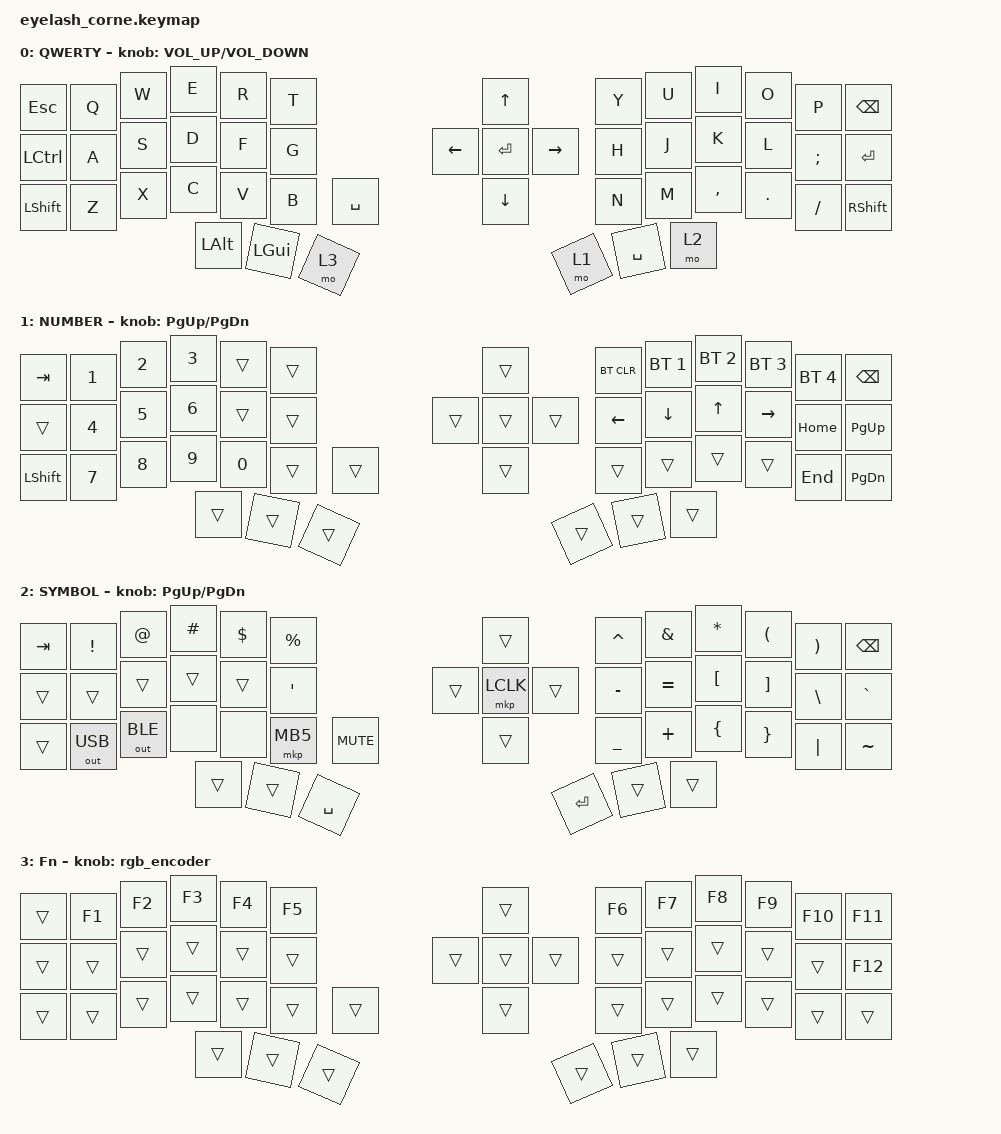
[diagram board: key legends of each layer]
#include <behaviors.dtsi>
#include <dt-bindings/zmk/bt.h>
#include <dt-bindings/zmk/keys.h>
#include <dt-bindings/zmk/mouse.h>
#include <dt-bindings/zmk/outputs.h>
#include <dt-bindings/zmk/rgb.h>

/ {
    behaviors {
        td0: td0 {
            compatible = "zmk,behavior-tap-dance";
            #binding-cells = <0>;
            bindings = <&kp LEFT_SHIFT>, <&kp CAPS>;
        };
    };

    rgb_encoder: rgb_encoder {
        compatible = "zmk,behavior-sensor-rotate";
        #sensor-binding-cells = <0>;
        bindings = <&rgb_ug RGB_BRI>, <&rgb_ug RGB_BRD>;
    };

    keymap {
        compatible = "zmk,keymap";

        default_layer {
            display-name = "QWERTY";

            bindings = <
&kp ESCAPE    &kp Q  &kp W      &kp E     &kp R  &kp T                              &kp UP                &kp Y        &kp U  &kp I      &kp O    &kp P     &kp BSPC
&kp LCTRL       &kp A  &kp S      &kp D     &kp F  &kp G                    &kp LEFT  &kp ENTER  &kp RIGHT  &kp H        &kp J  &kp K      &kp L    &kp SEMI  &kp ENTER
&kp LSHIFT  &kp Z  &kp X      &kp C     &kp V  &kp B       &kp SPACE              &kp DOWN              &kp N        &kp M  &kp COMMA  &kp DOT  &kp FSLH  &kp RIGHT_SHIFT
                             &kp LEFT_ALT  &kp LEFT_GUI  &mo 3                                              &mo 1  &kp SPACE  &mo 2
            >;

            sensor-bindings = <&inc_dec_kp C_VOLUME_UP C_VOLUME_DOWN>;
        };

        lower_layer {
            display-name = "NUMBER";
            bindings = <
&kp TAB  &kp N1           &kp N2          &kp N3        &trans        &trans                                &trans            &bt BT_CLR           &bt BT_SEL 1          &bt BT_SEL 2          &bt BT_SEL 3          &bt BT_SEL 4    &kp BSPC
&trans  &kp N4   &kp N5    &kp N6  &trans  &trans                  &trans  &trans  &trans &kp LEFT         &kp DOWN         &kp UP           &kp RIGHT        &kp HOME  &kp PG_UP
&kp LSHIFT  &kp N7  &kp N8  &kp N9     &kp N0        &trans &trans            &trans            &trans  &trans  &trans  &trans  &kp END   &kp PG_DN
                                         &trans        &trans        &trans                                                  &trans         &trans          &trans
            >;

            sensor-bindings = <&inc_dec_kp PG_UP PG_DN>;
        };

        raise_layer {
            display-name = "SYMBOL";
            bindings = <
&kp TAB  &kp EXCL      &kp AT        &kp HASH   &kp DLLR   &kp PRCNT                       &trans            &kp CARET  &kp AMPS   &kp ASTRK  &kp LPAR  &kp RPAR  &kp BSPC
&trans  &trans    &trans     &trans  &trans  &kp SQT                &trans  &mkp LCLK  &trans &kp MINUS  &kp EQUAL  &kp LBKT   &kp RBKT  &kp BSLH  &kp GRAVE
&trans  &out OUT_USB  &out OUT_BLE  &none      &none      &mkp MB5  &kp C_MUTE            &trans            &kp UNDER  &kp PLUS   &kp LBRC   &kp RBRC  &kp PIPE  &kp TILDE
                                    &trans     &trans     &kp SPACE                                         &kp RET    &trans     &trans
            >;

            sensor-bindings = <&inc_dec_kp PG_UP PG_DN>;
        };

        layer_3 {
            display-name = "Fn";
            bindings = <
&trans  &kp F1      &kp F2      &kp F3       &kp F4     &kp F5                         &trans            &kp F6       &kp F7     &kp F8       &kp F9      &kp F10          &kp F11
&trans  &trans      &trans   &trans    &trans  &trans               &trans  &trans  &trans &trans  &trans  &trans    &trans   &trans  &kp F12
&trans  &trans  &trans      &trans  &trans     &trans &trans            &trans            &trans       &trans     &trans  &trans  &trans   &trans
                                &trans      &trans      &trans                                           &trans       &trans     &trans
            >;

            sensor-bindings = <&rgb_encoder>;
        };
    };
};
